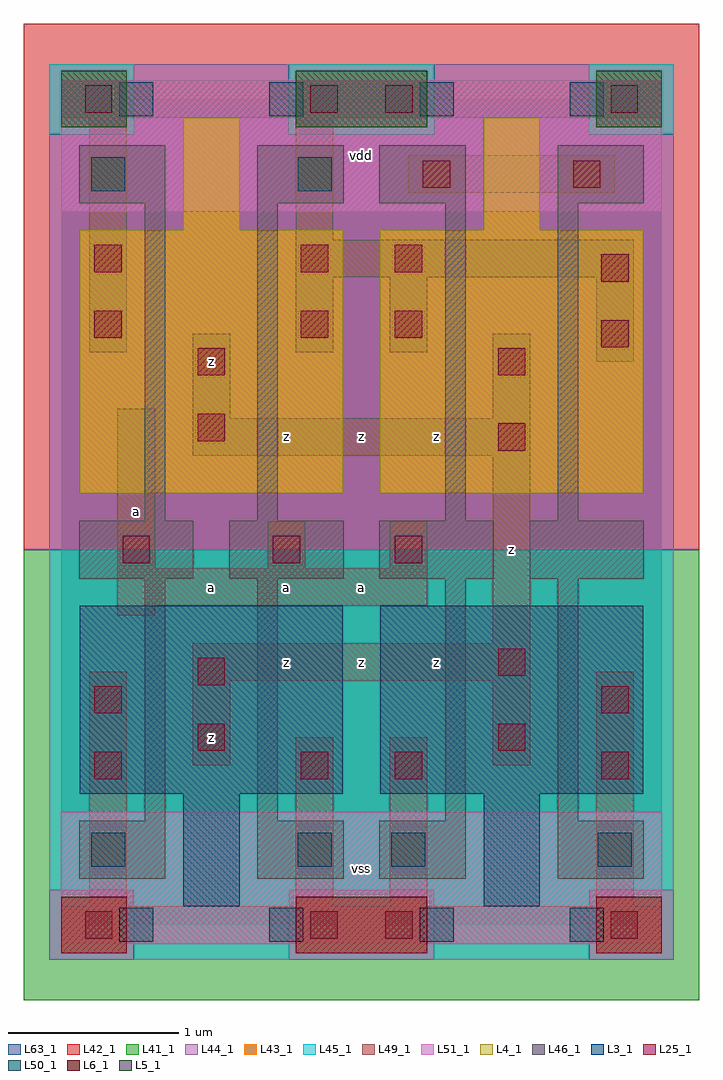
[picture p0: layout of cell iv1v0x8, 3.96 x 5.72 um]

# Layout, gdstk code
import gdstk
lib = gdstk.Library(unit=1e-6, precision=1e-09)
def R(c, l, rs):  # rectangles x0, y0, x1, y1
    for r in rs: c.add(gdstk.rectangle(r[:2], r[2:], *l))
def A(c, l, x, y, w, h, nx, ny, dx, dy):  # array of equal rectangles
    R(c, l, [(x+i*dx, y+j*dy, x+i*dx+w, y+j*dy+h) for i in range(nx) for j in range(ny)])
L3_1 = (3, 1)
L4_1 = (4, 1)
L5_1 = (5, 1)
L6_1 = (6, 1)
L25_1 = (25, 1)
L41_1 = (41, 1)
L42_1 = (42, 1)
L43_1 = (43, 1)
L44_1 = (44, 1)
L45_1 = (45, 1)
L46_1 = (46, 1)
L49_1 = (49, 1)
L50_1 = (50, 1)
L51_1 = (51, 1)
L63_1 = (63, 1)

iv1v0x8 = lib.new_cell('iv1v0x8')
R(iv1v0x8, L3_1, [(0.715,0.11,1.045,0.77), (2.475,0.11,2.805,0.77), (0.11,0.77,1.65,1.87), (1.87,0.77,3.41,1.87)])
R(iv1v0x8, L4_1, [(0.11,2.53,1.65,4.07), (1.87,2.53,3.41,4.07), (0.715,4.07,1.045,4.73), (2.475,4.07,2.805,4.73)])
R(iv1v0x8, L5_1, [(0,4.675,0.385,5.005), (1.375,4.675,2.145,5.005), (3.135,4.675,3.52,5.005)])
R(iv1v0x8, L6_1, [(0,-0.165,0.385,0.165), (1.375,-0.165,2.145,0.165), (3.135,-0.165,3.52,0.165)])
R(iv1v0x8, L25_1, [(0.14,-0.08,0.3,0.08), (1.46,-0.08,1.62,0.08), (1.9,-0.08,2.06,0.08), (3.22,-0.08,3.38,0.08), (0.195,0.855,0.355,1.015), (1.405,0.855,1.565,1.015), (1.955,0.855,2.115,1.015), (3.165,0.855,3.325,1.015), (0.8,1.02,0.96,1.18), (2.56,1.02,2.72,1.18), (0.195,1.24,0.355,1.4), (3.165,1.24,3.325,1.4), (0.8,1.405,0.96,1.565), (2.56,1.46,2.72,1.62), (0.36,2.12,0.52,2.28), (1.24,2.12,1.4,2.28), (1.955,2.12,2.115,2.28), (2.56,2.78,2.72,2.94), (0.8,2.835,0.96,2.995), (0.8,3.22,0.96,3.38), (2.56,3.22,2.72,3.38), (3.165,3.385,3.325,3.545), (0.195,3.44,0.355,3.6), (1.405,3.44,1.565,3.6), (1.955,3.44,2.115,3.6), (3.165,3.77,3.325,3.93), (0.195,3.825,0.355,3.985), (1.405,3.825,1.565,3.985), (1.955,3.825,2.115,3.985), (2.12,4.32,2.28,4.48), (3,4.32,3.16,4.48), (0.14,4.76,0.3,4.92), (1.46,4.76,1.62,4.92), (1.9,4.76,2.06,4.92), (3.22,4.76,3.38,4.92)])
R(iv1v0x8, L41_1, [(-0.22,-0.44,3.74,2.2)])
R(iv1v0x8, L42_1, [(-0.22,2.2,3.74,5.28)])
R(iv1v0x8, L43_1, [(0,-0.165,0.385,0.165), (1.375,-0.165,2.145,0.165), (3.135,-0.165,3.52,0.165), (0.715,0.11,1.045,0.77), (2.475,0.11,2.805,0.77), (0.11,0.77,1.65,1.87), (1.87,0.77,3.41,1.87), (0.11,2.53,1.65,4.07), (1.87,2.53,3.41,4.07), (0.715,4.07,1.045,4.73), (2.475,4.07,2.805,4.73), (0,4.675,0.385,5.005), (1.375,4.675,2.145,5.005), (3.135,4.675,3.52,5.005)])
R(iv1v0x8, L44_1, [(-0.07,-0.205,0.425,0.205), (1.335,-0.205,2.185,0.205), (3.095,-0.205,3.59,0.205), (-0.07,2.2,3.59,4.635), (0.425,4.635,1.335,5.045), (2.185,4.635,3.095,5.045)])
R(iv1v0x8, L45_1, [(0.425,-0.205,1.335,0.205), (2.185,-0.205,3.095,0.205), (-0.07,0.205,3.59,2.2), (-0.07,4.635,0.425,5.045), (1.335,4.635,2.185,5.045), (3.095,4.635,3.59,5.045)])
A(iv1v0x8, L46_1, 0.105, 2.03, 0.67, 0.34, 4, 1, 0.88, 0)
R(iv1v0x8, L46_1, [(0.105,0.27,0.61,0.61), (1.15,0.27,1.655,0.61), (1.865,0.27,2.37,0.61), (2.91,0.27,3.415,0.61), (0.49,0.61,0.61,2.03), (1.15,0.61,1.27,2.03), (2.25,0.61,2.37,2.03), (2.91,0.61,3.03,2.03), (0.49,2.37,0.61,4.23), (1.15,2.37,1.27,4.23), (2.25,2.37,2.37,4.23), (2.91,2.37,3.03,4.23), (0.105,4.23,0.61,4.57), (1.15,4.23,1.655,4.57), (1.865,4.23,2.37,4.57), (2.91,4.23,3.415,4.57)])
R(iv1v0x8, L49_1, [(0,-0.11,3.52,0.11), (0.165,0.11,0.385,1.485), (1.375,0.11,1.595,1.1), (1.925,0.11,2.145,1.1), (3.135,0.11,3.355,1.485), (0.77,0.935,0.99,1.43), (2.53,0.935,2.75,1.43), (0.77,1.43,2.75,1.65), (2.53,1.65,2.75,2.75), (0.33,1.815,0.55,1.87), (0.33,1.87,2.145,2.09), (0.33,2.09,0.55,3.025), (1.21,2.09,1.43,2.365), (1.925,2.09,2.145,2.365), (0.77,2.75,2.75,2.97), (0.77,2.97,0.99,3.465), (2.53,2.97,2.75,3.465), (3.135,3.3,3.355,3.795), (0.165,3.355,0.385,4.73), (1.375,3.355,1.595,3.795), (1.925,3.355,2.145,3.795), (1.375,3.795,3.355,4.015), (1.375,4.015,1.595,4.73), (2.035,4.29,3.245,4.51), (0,4.73,3.52,4.95)])
A(iv1v0x8, L50_1, 0.34, -0.1, 0.2, 0.2, 4, 2, 0.88, 4.84)
R(iv1v0x8, L50_1, [(0.175,0.34,0.375,0.54), (1.385,0.34,1.585,0.54), (1.935,0.34,2.135,0.54), (3.145,0.34,3.345,0.54), (0.175,4.3,0.375,4.5), (1.385,4.3,1.585,4.5)])
R(iv1v0x8, L51_1, [(0,-0.11,3.52,0.66), (0,4.18,3.52,4.95)])
R(iv1v0x8, L63_1, [(0,0,3.52,4.84)])
iv1v0x8.add(gdstk.Label('a', (0.44,2.42), layer=49, texttype=1))
iv1v0x8.add(gdstk.Label('z', (0.88,1.1), layer=49, texttype=1))
iv1v0x8.add(gdstk.Label('a', (0.88,1.98), layer=49, texttype=1))
iv1v0x8.add(gdstk.Label('z', (0.88,3.3), layer=49, texttype=1))
iv1v0x8.add(gdstk.Label('z', (1.32,1.54), layer=49, texttype=1))
iv1v0x8.add(gdstk.Label('z', (1.76,1.54), layer=49, texttype=1))
iv1v0x8.add(gdstk.Label('a', (1.76,1.98), layer=49, texttype=1))
iv1v0x8.add(gdstk.Label('a', (1.32,1.98), layer=49, texttype=1))
iv1v0x8.add(gdstk.Label('z', (1.76,2.86), layer=49, texttype=1))
iv1v0x8.add(gdstk.Label('z', (1.32,2.86), layer=49, texttype=1))
iv1v0x8.add(gdstk.Label('z', (2.2,1.54), layer=49, texttype=1))
iv1v0x8.add(gdstk.Label('z', (2.64,2.2), layer=49, texttype=1))
iv1v0x8.add(gdstk.Label('z', (2.2,2.86), layer=49, texttype=1))
iv1v0x8.add(gdstk.Label('vss', (1.76,0.33), layer=51, texttype=1))
iv1v0x8.add(gdstk.Label('vdd', (1.76,4.51), layer=51, texttype=1))

lib.write_gds('iv1v0x8.gds')
